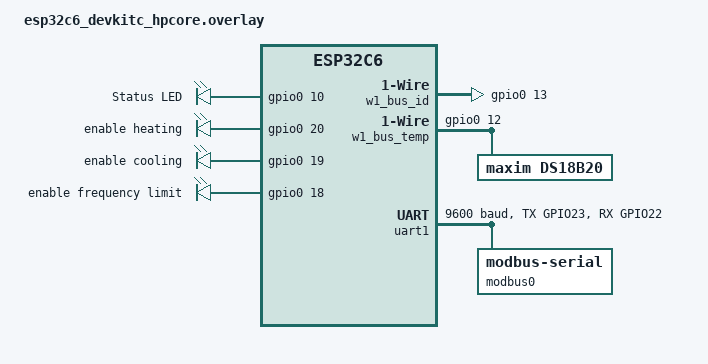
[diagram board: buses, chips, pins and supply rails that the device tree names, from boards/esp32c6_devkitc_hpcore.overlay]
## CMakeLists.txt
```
cmake_minimum_required(VERSION 3.20.0)
set(BOARD_ROOT ${CMAKE_CURRENT_SOURCE_DIR})

if(EXISTS "${CMAKE_CURRENT_LIST_DIR}/secrets.conf")
  list(APPEND EXTRA_CONF_FILE "${CMAKE_CURRENT_LIST_DIR}/secrets.conf")
endif()

find_package(Zephyr REQUIRED HINTS $ENV{ZEPHYR_BASE})
project(haier-controller)

target_include_directories(app PRIVATE inc)
target_sources(app PRIVATE 
  src/main.c 
  src/wifi.c
  src/shell.c
  src/relay.c
  src/rom.c
  src/temp.c
  src/mqtt.c
)

add_subdirectory(drivers)
```

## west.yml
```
manifest:
  remotes:
    - name: zephyrproject
      url-base: https://github.com/zephyrproject-rtos
  projects:
    - name: zephyr
      repo-path: zephyr
      remote: zephyrproject
      revision: main
      clone-depth: 1
      import:
        path-prefix: external
        name-allowlist:
          - hal_espressif
          - cmsis
          - cmsis_6
          - segger
          - mbedtls
          - tf-psa-crypto
          - zcbor
    - name: mcuboot
      remote: zephyrproject
      repo-path: mcuboot
      revision: main
      clone-depth: 1
      path: external/bootloader/mcuboot
```

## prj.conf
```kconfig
CONFIG_GPIO=y
CONFIG_LED=y

CONFIG_LOG=y
CONFIG_SHELL_LOG_BACKEND=y
CONFIG_LOG_DEFAULT_LEVEL=3
# CONFIG_LOG_MODE_IMMEDIATE=y

CONFIG_ZCBOR=y
CONFIG_SERIAL=y
CONFIG_UART_CONSOLE=y
CONFIG_SHELL=y
# CONFIG_SHELL_BACKEND_DUMMY=y
CONFIG_MCUMGR_TRANSPORT_SHELL_RX_BUF_COUNT=256
CONFIG_SHELL_BACKEND_SERIAL=y
CONFIG_SHELL_BACKEND_TELNET=y
CONFIG_SHELL_TELNET_PORT=23

CONFIG_SHELL_BACKEND_SERIAL_INTERRUPT_DRIVEN=y
CONFIG_SHELL_STACK_SIZE=2048
CONFIG_SHELL_PROMPT_UART="uart:~$ "

CONFIG_SHELL_CMDS=y
CONFIG_KERNEL_SHELL=y

CONFIG_STREAM_FLASH=y

CONFIG_BOOTLOADER_MCUBOOT=y
CONFIG_MCUBOOT_GENERATE_CONFIRMED_IMAGE=y
CONFIG_MCUBOOT_SIGNATURE_KEY_FILE="mcuboot.pem"
CONFIG_FLASH_MAP=y
CONFIG_MCUBOOT_IMG_MANAGER=y
CONFIG_IMG_MANAGER=y
CONFIG_FLASH=y

CONFIG_MCUMGR=y
CONFIG_MCUMGR_GRP_IMG=y
CONFIG_MCUMGR_GRP_SHELL=y
CONFIG_MCUMGR_TRANSPORT_UDP=y
CONFIG_MCUMGR_MGMT_NOTIFICATION_HOOKS=y

CONFIG_NETWORKING=y
CONFIG_NET_L2_ETHERNET=y
CONFIG_NET_IPV4=y
CONFIG_NET_TCP=y
CONFIG_NET_UDP=y
CONFIG_NET_SOCKETS=y

CONFIG_WIFI=y
CONFIG_WIFI_ESP32=y

CONFIG_NET_DHCPV4=y
CONFIG_NET_MGMT=y
CONFIG_NET_MGMT_EVENT=y
CONFIG_NET_SHELL=y
CONFIG_NET_L2_WIFI_SHELL=y

CONFIG_ESP_WIFI_HEAP_SYSTEM=y
CONFIG_HEAP_MEM_POOL_SIZE=71200
CONFIG_WIFI_CREDENTIALS=y
CONFIG_WIFI_CREDENTIALS_STATIC=y

CONFIG_NET_CONNECTION_MANAGER=y
CONFIG_ESP32_WIFI_STA_RECONNECT=y
CONFIG_WIFI_CREDENTIALS_CONNECT_STORED=y

CONFIG_MODBUS=y
CONFIG_MODBUS_LOG_LEVEL_INF=y

CONFIG_CBPRINTF_FP_SUPPORT=y
CONFIG_MODBUS_NONCOMPLIANT_SERIAL_MODE=y

CONFIG_W1=y
CONFIG_W1_SHELL=y
CONFIG_SENSOR=y

CONFIG_MQTT_LIB=y
CONFIG_POSIX_SYSTEM_INTERFACES=y
CONFIG_POSIX_NETWORKING=y
```

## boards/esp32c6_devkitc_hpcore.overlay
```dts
&pinctrl {
  uart1_default: uart1_default {
    group1 {
      pinmux = <UART1_TX_GPIO23>;
      output-high;
    };
    group2 {
      pinmux = <UART1_RX_GPIO22>;
      bias-pull-up;
    };
  };
};

/ {
  
  aliases {
    led0 = &status_led;
    heating = &heat_sw;
    cooling = &cool_sw;
    freq-lim = &lim_sw;
    temp = &ds18b20;
    heatpump = &heatpump0;
  };

  leds {
    compatible = "gpio-leds";
    status_led: led_0 {
        gpios = <&gpio0 10 GPIO_ACTIVE_HIGH>;
        label = "Status LED";
    };
  };

  relays {
    compatible = "gpio-leds";

    heat_sw: relay_1 {
      gpios = <&gpio0 20 GPIO_ACTIVE_HIGH>;
      label = "enable heating";
    };

    cool_sw: relay_2 {
      gpios = <&gpio0 19 GPIO_ACTIVE_HIGH>;
      label = "enable cooling";
    };

    lim_sw: relay_3 {
      gpios = <&gpio0 18 GPIO_ACTIVE_HIGH>;
      label = "enable frequency limit";
    };
  };
  
  w1_bus_id: w1_bus_id {
    compatible = "zephyr,w1-gpio";
    gpios = <&gpio0 13 (GPIO_ACTIVE_HIGH | GPIO_OPEN_DRAIN | GPIO_PULL_UP)>;
  };

  w1_bus_temp: w1_bus_temp {
    compatible = "zephyr,w1-gpio";
    gpios = <&gpio0 12 (GPIO_ACTIVE_HIGH | GPIO_OPEN_DRAIN | GPIO_PULL_UP)>;
    
    ds18b20: ds18b20 {
      compatible = "maxim,ds18b20";
      label = "DS18B20";
      resolution = <12>;
    };
  };
    

};

&uart1 {
  status = "okay";
  current-speed = <9600>;
  pinctrl-0 = <&uart1_default>;
  pinctrl-names = "default";

  modbus0: modbus0 {
    compatible = "zephyr,modbus-serial";
    status = "okay";
    #address-cells = <1>;
    #size-cells = <0>;

    heatpump0: heatpump@1 {
      compatible = "haier,heatpump";
      reg = <1>;
      slave-addr = <17>;
      status = "okay";
      enable-gpios = <&gpio0 11 GPIO_ACTIVE_HIGH>;
    };
  };
};
```

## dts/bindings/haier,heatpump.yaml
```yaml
description: "Haier heatpump"
compatible: "haier,heatpump"
include: [base.yaml]

properties:
  slave-addr:
    type: int
    required: true

  enable-gpios:
    type: phandle-array
    required: true
```

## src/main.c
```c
#include "relay.h"
#include "zephyr/device.h"
#include <sys/errno.h>
#include <zephyr/drivers/led.h>
#include <zephyr/devicetree.h>

#include "wifi.h"
#include "zephyr/kernel.h"
#include "zephyr/logging/log.h"
#include <haierctrl/drivers/heatpump.h>
#include <zephyr/shell/shell.h>
#include "temp.h"
#include "mqtt.h"
#include "zephyr/sleep.h"
#include "haierctrl.h"

LOG_MODULE_REGISTER(heatpump, CONFIG_LOG_DEFAULT_LEVEL);

static const struct device *heatpump = DEVICE_DT_GET(DT_ALIAS(heatpump));
static const struct led_dt_spec led_0 = LED_DT_SPEC_GET(DT_NODELABEL(status_led));

void get_status(struct status_packet *packet) {
  float ti, to;
  heatpump_read_twi_two(heatpump, &ti, &to);
  struct heatpump_status stat;
  heatpump_read_status(heatpump, &stat);
  packet->ambient_temp = read_temp();
  packet->ch_temp = ti;
  packet->dhw_temp = heatpump_read_dhw_temp(heatpump);
  packet->ch_target_temp = heatpump_read_ch_temp(heatpump);
  packet->dhw_target_temp = heatpump_read_dhw_target_temp(heatpump);
  packet->opr_mode = heatpump_read_mode(heatpump);
  packet->tank_state = stat.has_tank;
  packet->heater_state = stat.heat_mode;
  packet->driver_state = stat.is_on;
  packet->valve_state = heatpump_get_3way(heatpump);
}

int main() {
  relay_init();
  temp_init();
  wifi_init();
  wifi_connect(CONFIG_WIFI_CREDENTIALS_STATIC_SSID, CONFIG_WIFI_CREDENTIALS_STATIC_PASSWORD);
  wifi_wait_for_ip_addr();
  mqtt_init(BROKER_IP);
  while(1) {
    led_on_dt(&led_0);
    struct status_packet packet;
    get_status(&packet);
    publish_status(&packet);
    led_off_dt(&led_0);
    k_sleep(K_SECONDS(30));
  }
}
```

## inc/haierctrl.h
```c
#ifndef HAIERCTRL_H
#define HAIERCTRL_H

#include "mqtt.h"

void get_status(struct status_packet *packet);

#endif // !HAIERCTRL_H
```

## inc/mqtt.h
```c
#ifndef HAIERCTRL_MQTT_H
#define HAIERCTRL_MQTT_H

#include "zephyr/net/mqtt.h"
#include <stddef.h>
#include <stdint.h>

#define BROKER_IP "192.168.10.184"

struct status_packet {
  float ambient_temp;
  float ch_temp;
  float dhw_temp;
  float ch_target_temp;
  float dhw_target_temp;
  uint8_t opr_mode;
  uint8_t valve_state;
  uint8_t tank_state;
  uint8_t heater_state;
  uint8_t driver_state;
};

void mqtt_init(const char *broker_ip);
void publish_status(struct status_packet *packet);

#endif // !HAIERCTRL_MQTT_H
```

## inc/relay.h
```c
#ifndef HAIERCTRL_RELAY_H
#define HAIERCTRL_RELAY_H

#include <stdbool.h>

enum relay_id {
  RELAY_HEATING = 0,
  RELAY_COOLING,
  RELAY_FREQUENCY_LIMIT,

  RELAY_COUNT
};

void relay_init();
void set_relay_state(enum relay_id relay, bool enable);

#endif // !RELAY_H
```

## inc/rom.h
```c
#ifndef HAIERCTRL_ROM_H
#define HAIERCTRL_ROM_H

#include <zephyr/drivers/w1.h>

void read_id(struct w1_rom *rom);

#endif // !HAIERCTRL_ROM_H
```

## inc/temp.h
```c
#ifndef HAIERCTRL_TEMP_H
#define HAIERCTRL_TEMP_H

double read_temp();
void temp_init();

#endif // !HAIERCTRL_TEMP_H
```

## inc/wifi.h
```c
#ifndef WIFI_H
#define WIFI_H

void wifi_init(void);
int wifi_connect(char *ssid, char *psk);
void wifi_wait_for_ip_addr(void);
int wifi_disconnect(void);

#endif // !WIFI_H
```

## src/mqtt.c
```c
#include "zephyr/net/mqtt.h"
#include "haierctrl/drivers/heatpump.h"
#include "mqtt.h"
#include "zcbor_common.h"
#include "zcbor_encode.h"
#include "zephyr/kernel.h"
#include "zephyr/logging/log.h"
#include "zephyr/net/net_ip.h"
#include "zephyr/net/socket.h"
#include "zephyr/net/socket_poll.h"
#include "zephyr/sleep.h"
#include <stddef.h>
#include <stdint.h>
#include <string.h>
#include <sys/errno.h>
#include <zephyr/posix/arpa/inet.h>
#include "haierctrl.h"

LOG_MODULE_REGISTER(mqtt, CONFIG_LOG_DEFAULT_LEVEL);
static const struct device *heatpump = DEVICE_DT_GET(DT_ALIAS(heatpump));

#define CLIENT_ID "zephyr_heatpump"

static struct mqtt_client client;
static struct sockaddr_in broker_addr;
static uint8_t rx_buf[128];
static uint8_t tx_buf[128];
static bool connected = false;

#define CMD_COUNT 4

typedef void (*handler_t)(char *val);
struct cmd {
  char *name;
  handler_t handler;
};

static void cmd_ch(char *val) {
  char *err;
  float temp = strtof(val, &err);
  heatpump_set_ch_temp(heatpump, temp);
}

static void cmd_dhw(char *val) {
  char *err;
  float temp = strtof(val, &err);
  heatpump_set_dhw_temp(heatpump, temp);
}

static void cmd_state(char *val) {
  char *err;
  int mode = strtol(val, &err, 0);
  heatpump_set_state(heatpump, mode);
}

static void cmd_mode(char *val) {
  char *err;
  int mode = strtol(val, &err, 0);
  heatpump_set_mode(heatpump, mode);
}

static struct cmd cmd_list[CMD_COUNT] = {
  {"ch", cmd_ch}, 
  {"dhw", cmd_dhw}, 
  {"state", cmd_state}, 
  {"mode", cmd_mode}
};

static int subscribe_to_topic(struct mqtt_client *client, const char *topic) {
  struct mqtt_topic sub_topic = {
    .topic = {
      .utf8 = (uint8_t *)topic,
      .size = strlen(topic)
    },
    .qos = MQTT_QOS_0_AT_MOST_ONCE
  };

  const struct mqtt_subscription_list sub_list = {
    .list = &sub_topic,
    .list_count = 1U,
    .message_id = k_cycle_get_32()
  };

  int err = mqtt_subscribe(client, &sub_list);
  if(err)
    LOG_ERR("Failed to subscribe to %s, err: %d", topic, err);
  else
    LOG_INF("Subscribed to topic: %s", topic);

  return err;
}

static void dispatch_cmd(char *data) {
  char *ptr = data;
  while(*ptr != ' ') {
    ptr++;
  }
  *ptr = '\0';
  ptr++;
  for(int i = 0; i < CMD_COUNT; i++) {
    if(!strcmp(data, cmd_list[i].name)) {
      LOG_INF("Command dispatched: %s with value: %s", data, ptr);
      cmd_list[i].handler(ptr);
      k_sleep(K_SECONDS(1));
      struct status_packet packet;
      get_status(&packet);
      publish_status(&packet);
      return;
    }
  }
}

static void handler(struct mqtt_client *client, const struct mqtt_evt *evt) {
  switch (evt->type) {
  case MQTT_EVT_PUBLISH: {
    const struct mqtt_publish_param *p = &evt->param.publish;
    size_t len = p->message.payload.len;
    if (len >= sizeof(rx_buf)) {
      LOG_ERR("Incoming payload too large!");
      return;
    }
    int err = mqtt_read_publish_payload(client, rx_buf, len);
    if (err < 0) {
      LOG_ERR("Failed to read payload: %d", err);
      return;
    }
    LOG_INF("Received command on topic: %s", p->message.topic.topic.utf8);
    rx_buf[len] = '\0';
    dispatch_cmd(rx_buf);
    LOG_INF("Payload: %s", rx_buf);
    break;
  }
  case MQTT_EVT_CONNACK:
    if (evt->result == 0) {
      connected = true;
      LOG_INF("Successfully connected to MQTT Broker!");
      subscribe_to_topic(client, "heatpump/cmd");
    } else {
      LOG_ERR("MQTT Connect refused by broker: %d", evt->result);
    }
    break;

  case MQTT_EVT_SUBACK:
    LOG_INF("Subscription acknowledged by broker (Message ID: %d)", evt->param.suback.message_id);
    break;

  case MQTT_EVT_DISCONNECT:
    connected = false;
    LOG_WRN("MQTT Disconnected: %d", evt->result);
    break;

  default:
    break;
  }
}

void mqtt_init(const char *broker_ip) {
  mqtt_client_init(&client);

  broker_addr.sin_family = AF_INET;
  broker_addr.sin_port = htons(1883);
  inet_pton(AF_INET, broker_ip, &broker_addr.sin_addr);

  client.broker = &broker_addr;
  client.evt_cb = handler;
  client.client_id.utf8 = (uint8_t *)CLIENT_ID;
  client.client_id.size = strlen(CLIENT_ID);
  client.protocol_version = MQTT_VERSION_3_1_1;
  client.rx_buf = rx_buf;
  client.rx_buf_size = sizeof(rx_buf);
  client.tx_buf = tx_buf;
  client.tx_buf_size = sizeof(tx_buf);
  client.keepalive = 180;

  int err = mqtt_connect(&client);
  if (err) {
      LOG_ERR("mqtt_connect failed: %d", err);
      return;
  }

  int timeout = 50; 
  while (!connected && timeout-- > 0) {
      mqtt_input(&client);
      k_sleep(K_MSEC(100));
  }

  if (!connected) {
      LOG_ERR("Timed out waiting for MQTT_EVT_CONNACK");
  }
}

static int publish_msg(const char *topic, const uint8_t *payload, size_t len) {
  if (!connected) {
      LOG_WRN("Cannot publish: MQTT socket is not connected!");
      mqtt_init(BROKER_IP);
      return -ENOTSOCK;
  }
  struct mqtt_publish_param param;

  param.message.topic.qos = MQTT_QOS_0_AT_MOST_ONCE;
  param.message.topic.topic.utf8 = (uint8_t *)topic;
  param.message.topic.topic.size = strlen(topic);
  param.message.payload.data = (uint8_t *)payload;
  param.message.payload.len = len;
  param.message_id = k_cycle_get_32();
  param.dup_flag = 0U;
  param.retain_flag = 0U;

  int err = mqtt_publish(&client, &param);
  if (err)
      LOG_ERR("MQTT publish error: %d", err);
  else
      LOG_INF("MQTT message published successfully");
  return err;
}

void publish_status(struct status_packet *packet) {
  uint8_t cbor_buf[64];
  zcbor_state_t state[4];

  zcbor_new_encode_state(state, 4, cbor_buf, sizeof(cbor_buf), 0);

  bool ok = zcbor_list_start_encode(state, 10);
  ok &= zcbor_float32_put(state, packet->ambient_temp); 
  ok &= zcbor_float32_put(state, packet->ch_temp); 
  ok &= zcbor_float32_put(state, packet->dhw_temp); 
  ok &= zcbor_float32_put(state, packet->ch_target_temp); 
  ok &= zcbor_float32_put(state, packet->dhw_target_temp); 
  ok &= zcbor_uint32_put(state, packet->opr_mode); 
  ok &= zcbor_uint32_put(state, packet->valve_state); 
  ok &= zcbor_uint32_put(state, packet->tank_state); 
  ok &= zcbor_uint32_put(state, packet->heater_state);
  ok &= zcbor_uint32_put(state, packet->driver_state);
  ok &= zcbor_list_end_encode(state, 10);

  if (!ok) {
      LOG_ERR("Failed to encode CBOR packet!");
      return;
  }

  size_t payload_len = (size_t)(state->payload - cbor_buf);
  publish_msg("heatpump/status", cbor_buf, payload_len);
}

void mqtt_thread(void *p1, void *p2, void *p3) {
  
  struct zsock_pollfd fds[1];

  while(1) {
    if(!connected) {
      LOG_INF("Attempting MQTT connection...");
      mqtt_init(BROKER_IP);
      k_sleep(K_SECONDS(5));
      continue;
    }
    
    fds[0].fd = client.transport.tcp.sock;
    fds[0].events = ZSOCK_POLLIN;
    
    int res = zsock_poll(fds, 1, 1000);
    if(res < 0) {
      LOG_ERR("Poll failed, err: %d", errno);
      connected = false;
      mqtt_abort(&client);
      continue;
    }

    if(res > 0 && (fds[0].revents & ZSOCK_POLLIN)) {
      int err = mqtt_input(&client);
      if(err < 0 && err != -EAGAIN && err != -EWOULDBLOCK) {
        LOG_ERR("mqtt input fail: %d", err);
        connected = false;
        mqtt_abort(&client);
        continue;
      }
    }

    int live_err = mqtt_live(&client);
    if(live_err < 0 && live_err != -EAGAIN) {
      LOG_ERR("mqtt_live error: %d", live_err);
      connected = false;
      mqtt_abort(&client);
    }
  }
}

K_THREAD_DEFINE(mqtt_sub, 4096, mqtt_thread, NULL, NULL, NULL, 7, 0, 30 * 1000);
```

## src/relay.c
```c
#include <zephyr/logging/log.h>
#include "zephyr/drivers/gpio.h"

#include "relay.h"

LOG_MODULE_REGISTER(relays, CONFIG_LOG_DEFAULT_LEVEL);

static struct gpio_dt_spec relays[RELAY_COUNT] = {
  GPIO_DT_SPEC_GET(DT_ALIAS(heating), gpios),
  GPIO_DT_SPEC_GET(DT_ALIAS(cooling), gpios),
  GPIO_DT_SPEC_GET(DT_ALIAS(freq_lim), gpios),
};

void relay_init() {
  for(int i = 0; i < RELAY_COUNT; i++) {
    if(!gpio_is_ready_dt(&relays[i])) {
      LOG_ERR("Relay device %s is not ready!", relays[i].port->name);
      continue;
    }

    int err = gpio_pin_configure_dt(&relays[i], GPIO_OUTPUT_INACTIVE);
    if(err < 0) {
      LOG_ERR("Failed to configure pin %d (err: %d)", relays[i].pin, err);
      continue;
    }
  }
}

void set_relay_state(enum relay_id relay, bool enable) {
  gpio_pin_set_dt(&relays[relay], enable);
}
```

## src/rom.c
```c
#include "zephyr/device.h"
#include "zephyr/devicetree.h"
#include "zephyr/logging/log.h"
#include <stdint.h>
#include <zephyr/drivers/w1.h>

LOG_MODULE_REGISTER(rom, CONFIG_LOG_DEFAULT_LEVEL);

static const struct device *ds2401 = DEVICE_DT_GET(DT_NODELABEL(w1_bus_id));

void read_id(struct w1_rom *rom) {
  if(!device_is_ready(ds2401)) {
    LOG_ERR("One wire device not ready!");
    return;
  }
  
  int err = w1_reset_bus(ds2401);
  if(err < 0) {
    LOG_ERR("One wire devices not detected!");
    return;
  }

  w1_write_byte(ds2401, W1_CMD_READ_ROM);
  w1_read_block(ds2401, (uint8_t *)rom, sizeof(struct w1_rom));

  LOG_INF("1-Wire device family: 0x%02X, Serial: %02X%02X%02X%02X%02X%02X",
      rom->family, rom->serial[0], rom->serial[1], rom->serial[2], rom->serial[3],
      rom->serial[4], rom->serial[5]);
}
```

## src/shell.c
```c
#include "relay.h"
#include <sys/errno.h>
#include <zephyr/shell/shell.h>
#include <stdlib.h>
#include <haierctrl/drivers/heatpump.h>
#include "relay.h"
#include "rom.h"
#include "zephyr/drivers/w1.h"
#include "temp.h"

static const struct device *heatpump = DEVICE_DT_GET(DT_ALIAS(heatpump));

static int cmd_set_ch(const struct shell *sh, size_t argc, char **argv) {
  if(argc != 2)
    return -EINVAL;
  char *err;
  float temp = strtof(argv[1], &err);
  return heatpump_set_ch_temp(heatpump, temp);
}

static int cmd_set_dhw(const struct shell *sh, size_t argc, char **argv) {
  if(argc != 2)
    return -EINVAL;
  char *err;
  float temp = strtof(argv[1], &err);
  return heatpump_set_dhw_temp(heatpump, temp);
}

static int cmd_set_mode(const struct shell *sh, size_t argc, char **argv) {
  if(argc != 2)
    return -EINVAL;
  char *err;
  int mode = strtol(argv[1], &err, 0);
  return heatpump_set_mode(heatpump, mode);
}

static int cmd_set_state(const struct shell *sh, size_t argc, char **argv) {
  if(argc != 2)
    return -EINVAL;
  char *err;
  int mode = strtol(argv[1], &err, 0);
  return heatpump_set_state(heatpump, mode);
}

static int cmd_get_ch(const struct shell *sh, size_t argc, char **argv) {
  float ti, to;
  int err = heatpump_read_twi_two(heatpump, &ti, &to);
  if(err < 0) {
    shell_print(sh, "ERR=%d", err);
    return err;
  }
  shell_print(sh, "VAL=%.1f", (double)ti);
  return 0;
}

static int cmd_get_dhw(const struct shell *sh, size_t argc, char **argv) {
  shell_print(sh, "VAL=%.1f", (double)(heatpump_read_dhw_temp(heatpump)));
  return 0;
}

static int cmd_get_mode(const struct shell *sh, size_t argc, char **argv) {
  shell_print(sh, "VAL=%d", heatpump_read_mode(heatpump));
  return 0;
}

static int cmd_get_tank(const struct shell *sh, size_t argc, char **argv) {
  struct heatpump_status stat;
  int err = heatpump_read_status(heatpump, &stat);
  if(err < 0) {
    shell_print(sh, "ERR=%d", err);
    return err;
  }
  shell_print(sh, "VAL=%d", stat.has_tank);
  return 0;
}

static int cmd_get_heat(const struct shell *sh, size_t argc, char **argv) {
  struct heatpump_status stat;
  int err = heatpump_read_status(heatpump, &stat);
  if(err < 0) {
    shell_print(sh, "ERR=%d", err);
    return err;
  }
  shell_print(sh, "VAL=%d", stat.heat_mode);
  return 0;
}

static int cmd_get_3way(const struct shell *sh, size_t argc, char **argv) {
  shell_print(sh, "VAL=%d", heatpump_get_3way(heatpump));
  return 0;
}

static int cmd_get_ch_target(const struct shell *sh, size_t argc, char **argv) {
  shell_print(sh, "VAL=%.1f", (double)heatpump_read_ch_temp(heatpump));
  return 0;
}

static int cmd_get_dhw_target(const struct shell *sh, size_t argc, char **argv) {
  shell_print(sh, "VAL=%.1f", (double)heatpump_read_dhw_target_temp(heatpump));
  return 0;
}

SHELL_STATIC_SUBCMD_SET_CREATE(sub_heatpump_set,
  SHELL_CMD(ch, NULL, "sets heater temperature", cmd_set_ch),
  SHELL_CMD(dhw, NULL, "sets tank temperature", cmd_set_dhw),
  SHELL_CMD(mode, NULL, "sets heatpump mode", cmd_set_mode),
  SHELL_CMD(state, NULL, "sets heatpump state", cmd_set_state),
  SHELL_SUBCMD_SET_END
);

SHELL_STATIC_SUBCMD_SET_CREATE(sub_heatpump_get,
  SHELL_CMD(ch, NULL, "gets heater temperature", cmd_get_ch),
  SHELL_CMD(dhw, NULL, "gets tank temperature", cmd_get_dhw),
  SHELL_CMD(mode, NULL, "gets heatpump mode", cmd_get_mode),
  SHELL_CMD(tank, NULL, "gets heatpump tank status", cmd_get_tank),
  SHELL_CMD(heat, NULL, "gets heatpump heat / cool state", cmd_get_heat),
  SHELL_CMD(threeway, NULL, "gets heatpump threeway valve state", cmd_get_3way),
  SHELL_CMD(ch_target, NULL, "gets heatpump heating temp target", cmd_get_ch_target),
  SHELL_CMD(dhw_target, NULL, "gets heatpump water temp target", cmd_get_dhw_target),
  SHELL_SUBCMD_SET_END
);

SHELL_STATIC_SUBCMD_SET_CREATE(sub_heatpump,
    SHELL_CMD(get, &sub_heatpump_get, "Read heatpump parameters", NULL),
    SHELL_CMD(set, &sub_heatpump_set, "Write heatpump parameters", NULL),
    SHELL_SUBCMD_SET_END
);

SHELL_CMD_REGISTER(hp, &sub_heatpump, "Heatpump control commands", NULL);

static int cmd_set_relay(const struct shell *sh, size_t argc, char **argv) {
  if(argc != 3)
    return -EINVAL;
  
  char *err;
  uint8_t relay = strtol(argv[1], &err, 0);
  int enable = strtol(argv[2], &err, 0);
  if(relay >= RELAY_COUNT)
    return -EINVAL;
  set_relay_state(relay, enable);
  return 0;
}

SHELL_CMD_REGISTER(set_relay, NULL, "Sets relay state", cmd_set_relay);

static int cmd_read_id(const struct shell *sh, size_t argc, char **argv) {
  struct w1_rom rom;
  read_id(&rom);
  return 0;
}

SHELL_CMD_REGISTER(read_id, NULL, "Gets ROM data", cmd_read_id);

static int cmd_read_temp(const struct shell *sh, size_t argc, char **argv) {
  shell_print(sh, "VAL=%.2f", read_temp());
  return 0;
}

SHELL_CMD_REGISTER(read_temp, NULL, "Reads temperature from DS18B20", cmd_read_temp);
```

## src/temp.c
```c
#include "zephyr/device.h"
#include <zephyr/logging/log.h>
#include <zephyr/kernel.h>
#include <zephyr/drivers/sensor.h>

LOG_MODULE_REGISTER(temp, CONFIG_LOG_DEFAULT_LEVEL);

static const struct device *ds18b20 = DEVICE_DT_GET(DT_ALIAS(temp));

double read_temp() {
  struct sensor_value temp;
  int err = sensor_sample_fetch(ds18b20);
  if(err < 0) {
    LOG_ERR("Failed to fetch temperature from DS18B20 (err: %d)", err);
    return 0;
  }

  err = sensor_channel_get(ds18b20, SENSOR_CHAN_AMBIENT_TEMP, &temp);
  if(err != 0)
    LOG_ERR("Failed to read temperature. Err: %d", err);

  double val = sensor_value_to_double(&temp);
  LOG_DBG("DS18B20 Temperature: %.2f C", val);
  return val;
}

void temp_init() {
  if(!device_is_ready(ds18b20)) {
    LOG_ERR("DS18B20 is not ready!");
    return;
  }
}
```

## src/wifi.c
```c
#include "zephyr/net/wifi.h"
#include <string.h>
#include <zephyr/kernel.h>
#include <zephyr/net/wifi_mgmt.h>

static struct net_mgmt_event_callback wifi_cb;
static struct net_mgmt_event_callback ipv4_cb;
static struct net_mgmt_event_callback scan_cb;

static K_SEM_DEFINE(sem_wifi, 0, 1);
static K_SEM_DEFINE(sem_ipv4, 0, 1);
static K_SEM_DEFINE(sem_wifi_scan, 0, 1);

static uint8_t target_channel = WIFI_CHANNEL_ANY;
static char target_ssid[32];

static void on_wifi_scan_result(struct net_mgmt_event_callback *cb, uint64_t mgmt_event, struct net_if *iface)
{
    if (mgmt_event == NET_EVENT_WIFI_SCAN_RESULT) {
        const struct wifi_scan_result *entry = (const struct wifi_scan_result *)cb->info;
        if (strlen(target_ssid) > 0 && strncmp(entry->ssid, target_ssid, entry->ssid_length) == 0) {
            target_channel = entry->channel;
            printk("Found %s on Channel %d!\r\n", target_ssid, target_channel);
        }
    } else if (mgmt_event == NET_EVENT_WIFI_SCAN_DONE) {
        k_sem_give(&sem_wifi_scan);
    }
}

static void on_wifi_connection_event(struct net_mgmt_event_callback *cb, uint64_t mgmt_event, struct net_if *iface)
{
    const struct wifi_status *status = (const struct wifi_status *)cb->info;

    if (mgmt_event == NET_EVENT_WIFI_CONNECT_RESULT) {
        if (status->status) {
            printk("Error (%d): Connection request failed\r\n", status->status);
        } else {
            printk("Connected!\r\n");
            k_sem_give(&sem_wifi);
        }
    } else if (mgmt_event == NET_EVENT_WIFI_DISCONNECT_RESULT) {
        if (status->status) {
            printk("Error (%d): Disconnection request failed\r\n", status->status);
        } else {
            printk("Disconnected\r\n");
            k_sem_take(&sem_wifi, K_NO_WAIT);
        }
    }
}

static void on_ipv4_obtained(struct net_mgmt_event_callback *cb, uint64_t mgmt_event, struct net_if *iface)
{
    if (mgmt_event == NET_EVENT_IPV4_ADDR_ADD) {
        k_sem_give(&sem_ipv4);
    }
}

void wifi_init(void)
{
    net_mgmt_init_event_callback(&scan_cb, on_wifi_scan_result, 
                                  NET_EVENT_WIFI_SCAN_RESULT | NET_EVENT_WIFI_SCAN_DONE);
    net_mgmt_init_event_callback(&wifi_cb, on_wifi_connection_event,
                                  NET_EVENT_WIFI_CONNECT_RESULT | NET_EVENT_WIFI_DISCONNECT_RESULT);
    net_mgmt_init_event_callback(&ipv4_cb, on_ipv4_obtained, NET_EVENT_IPV4_ADDR_ADD);

    net_mgmt_add_event_callback(&scan_cb);
    net_mgmt_add_event_callback(&wifi_cb);
    net_mgmt_add_event_callback(&ipv4_cb);
}

int wifi_connect(char *ssid, char *psk)
{
    int ret;
    struct net_if *iface = net_if_get_default();
    
    struct wifi_connect_req_params params = {0};

    strncpy(target_ssid, ssid, sizeof(target_ssid) - 1);
    target_channel = WIFI_CHANNEL_ANY;

    printk("Scanning for APs...\r\n");
    ret = net_mgmt(NET_REQUEST_WIFI_SCAN, iface, NULL, 0);
    if (ret < 0) {
        printk("Failed to request Wi-Fi scan: %d\r\n", ret);
        return ret;
    }

    k_sem_take(&sem_wifi_scan, K_FOREVER);
    
    k_msleep(200); 

    printk("Scan finished. Connecting...\r\n");

    params.ssid = (const uint8_t *)ssid;
    params.ssid_length = strlen(ssid);
    params.psk = (const uint8_t *)psk;
    params.psk_length = strlen(psk);
    params.security = WIFI_SECURITY_TYPE_PSK;
    params.band = WIFI_FREQ_BAND_2_4_GHZ;
    
    params.channel = target_channel; 
    params.mfp = WIFI_MFP_DISABLE;
    params.timeout = SYS_FOREVER_MS;

    ret = net_mgmt(NET_REQUEST_WIFI_CONNECT, iface, &params, sizeof(params));
    if (ret != 0) {
        printk("Connection request rejected by driver: %d\r\n", ret);
        return ret;
    }

    k_sem_take(&sem_wifi, K_FOREVER);
    return 0;
}

void wifi_wait_for_ip_addr(void)
{
    struct wifi_iface_status status;
    struct net_if *iface = net_if_get_default();
    char ip_addr[NET_IPV4_ADDR_LEN];
    char gw_addr[NET_IPV4_ADDR_LEN];

    k_sem_take(&sem_ipv4, K_FOREVER);

    if (net_mgmt(NET_REQUEST_WIFI_IFACE_STATUS, iface, &status, sizeof(struct wifi_iface_status))) {
        printk("Error: WiFi status request failed\r\n");
    }

    memset(ip_addr, 0, sizeof(ip_addr));
    if (net_addr_ntop(AF_INET, &iface->config.ip.ipv4->unicast[0].ipv4.address.in_addr, ip_addr, sizeof(ip_addr)) == NULL) {
        printk("Error: Could not convert IP address to string\r\n");
    }

    memset(gw_addr, 0, sizeof(gw_addr));
    if (net_addr_ntop(AF_INET, &iface->config.ip.ipv4->gw, gw_addr, sizeof(gw_addr)) == NULL) {
        printk("Error: Could not convert gateway address to string\r\n");
    }

    printk("WiFi status:\r\n");
    if (status.state >= WIFI_STATE_ASSOCIATED) {
        printk("  SSID: %-32s\r\n", status.ssid);
        printk("  Band: %s\r\n", wifi_band_txt(status.band));
        printk("  Channel: %d\r\n", status.channel);
        printk("  Security: %s\r\n", wifi_security_txt(status.security));
        printk("  IP address: %s\r\n", ip_addr);
        printk("  Gateway: %s\r\n", gw_addr);
    }
}

int wifi_disconnect(void)
{
    struct net_if *iface = net_if_get_default();
    return net_mgmt(NET_REQUEST_WIFI_DISCONNECT, iface, NULL, 0);
}
```
